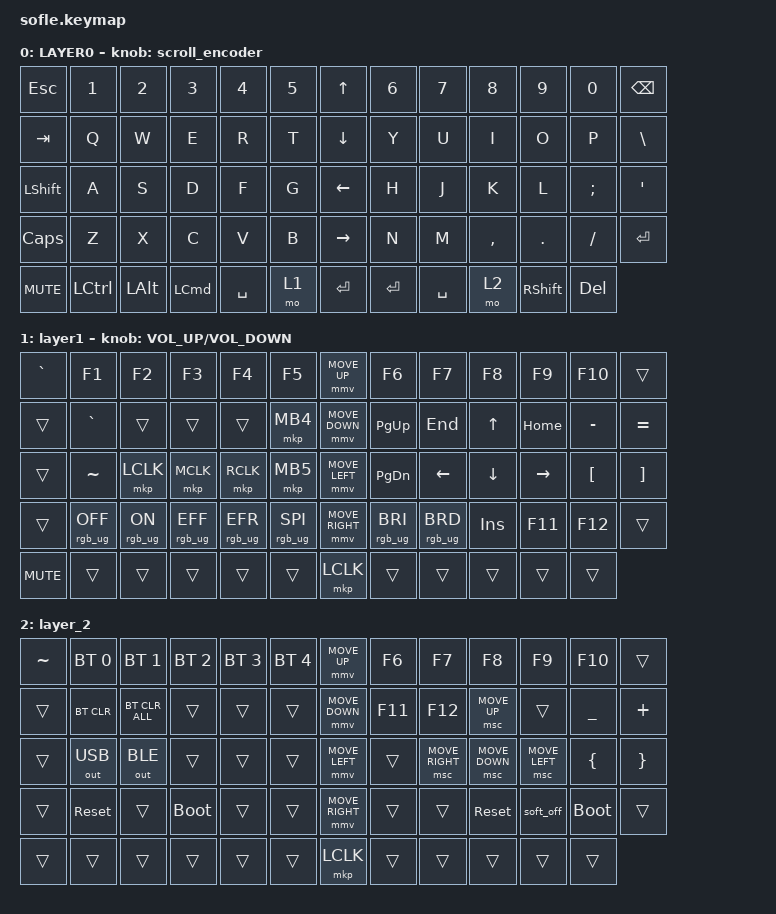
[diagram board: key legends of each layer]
#include <behaviors/mouse_keys.dtsi>
#include <behaviors.dtsi>
#include <dt-bindings/zmk/bt.h>
#include <dt-bindings/zmk/keys.h>
#include <dt-bindings/zmk/mouse.h>
#include <dt-bindings/zmk/outputs.h>
#include <dt-bindings/zmk/rgb.h>

#define ZMK_MOUSE_DEFAULT_MOVE_VAL 1200  // 600
#define ZMK_MOUSE_DEFAULT_SCRL_VAL 20    // 10
#define U_MS_U &mmv MOVE_UP
#define U_MS_D &mmv MOVE_DOWN
#define U_MS_L &mmv MOVE_LEFT
#define U_MS_R &mmv MOVE_RIGHT
#define ZMK_MOUSE_DEFAULT_MOVE_VAL 1200  //  600
#define ZMK_MOUSE_DEFAULT_SCRL_VAL 20    // 10

/ {
    behaviors {
        mmv {
            acceleration-exponent = <1>;      // 1
            time-to-max-speed-ms = <900>;    // 40
            delay-ms = <0>;                   // 0
        };

        msc {
            acceleration-exponent = <1>;      // 0
            time-to-max-speed-ms = <30>;      // 5
            delay-ms = <100>;                   //   10
        };
    };

    scroll_encoder: scroll_encoder {
        compatible = "zmk,behavior-sensor-rotate";
        #sensor-binding-cells = <0>;
        bindings = <&msc MOVE_UP>, <&msc MOVE_DOWN>;

        tap-ms = <30>;
        label = "1";
    };

    keymap {
        compatible = "zmk,keymap";

        layer0 {
            bindings = <
&kp ESC         &kp N1     &kp N2        &kp N3            &kp N4     &kp N5    &kp UP_ARROW     &kp N6     &kp N7     &kp N8     &kp N9           &kp N0      &kp BACKSPACE
&kp TAB         &kp Q      &kp W         &kp E             &kp R      &kp T     &kp DOWN_ARROW   &kp Y      &kp U      &kp I      &kp O            &kp P       &kp BSLH
&kp LEFT_SHIFT  &kp A      &kp S         &kp D             &kp F      &kp G     &kp LEFT_ARROW   &kp H      &kp J      &kp K      &kp L            &kp SEMI    &kp APOS
&kp CAPS        &kp Z      &kp X         &kp C             &kp V      &kp B     &kp RIGHT_ARROW  &kp N      &kp M      &kp COMMA  &kp DOT          &kp FSLH    &kp ENTER
&kp C_MUTE      &kp LCTRL  &kp LEFT_ALT  &kp LEFT_COMMAND  &kp SPACE  &mo 1     &kp ENTER        &kp ENTER  &kp SPACE  &mo 2      &kp RIGHT_SHIFT  &kp DELETE
            >;

            display-name = "LAYER0";
            sensor-bindings = <&scroll_encoder>;
        };

        layer_1 {
            bindings = <
&kp GRAVE   &kp F1           &kp F2          &kp F3           &kp F4           &kp F5             &mmv MOVE_UP     &kp F6           &kp F7           &kp F8      &kp F9     &kp F10           &trans
&trans      &kp GRAVE        &trans          &trans           &trans           &mkp MB4           &mmv MOVE_DOWN   &kp PG_UP        &kp END          &kp UP      &kp HOME   &kp MINUS         &kp EQUAL
&trans      &kp TILDE        &mkp LCLK       &mkp MCLK        &mkp RCLK        &mkp MB5           &mmv MOVE_LEFT   &kp PG_DN        &kp LEFT         &kp DOWN    &kp RIGHT  &kp LEFT_BRACKET  &kp RIGHT_BRACKET
&trans      &rgb_ug RGB_OFF  &rgb_ug RGB_ON  &rgb_ug RGB_EFF  &rgb_ug RGB_EFR  &rgb_ug RGB_SPI    &mmv MOVE_RIGHT  &rgb_ug RGB_BRI  &rgb_ug RGB_BRD  &kp INSERT  &kp F11    &kp F12           &trans
&kp C_MUTE  &trans           &trans          &trans           &trans           &trans             &mkp LCLK        &trans           &trans           &trans      &trans     &trans
            >;

            display-name = "layer1";
            sensor-bindings = <&inc_dec_kp C_VOLUME_UP C_VOLUME_DOWN>;
        };

        layer_2 {
            bindings = <
&kp TILDE  &bt BT_SEL 0  &bt BT_SEL 1    &bt BT_SEL 2  &bt BT_SEL 3  &bt BT_SEL 4    &mmv MOVE_UP     &kp F6   &kp F7           &kp F8          &kp F9          &kp F10      &trans
&trans     &bt BT_CLR    &bt BT_CLR_ALL  &trans        &trans        &trans          &mmv MOVE_DOWN   &kp F11  &kp F12          &msc MOVE_UP    &trans          &kp UNDER    &kp PLUS
&trans     &out OUT_USB  &out OUT_BLE    &trans        &trans        &trans          &mmv MOVE_LEFT   &trans   &msc MOVE_RIGHT  &msc MOVE_DOWN  &msc MOVE_LEFT  &kp LBRC     &kp RBRC
&trans     &sys_reset    &trans          &bootloader   &trans        &trans          &mmv MOVE_RIGHT  &trans   &trans           &sys_reset      &soft_off       &bootloader  &trans
&trans     &trans        &trans          &trans        &trans        &trans          &mkp LCLK        &trans   &trans           &trans          &trans          &trans
            >;
        };
    };
};
